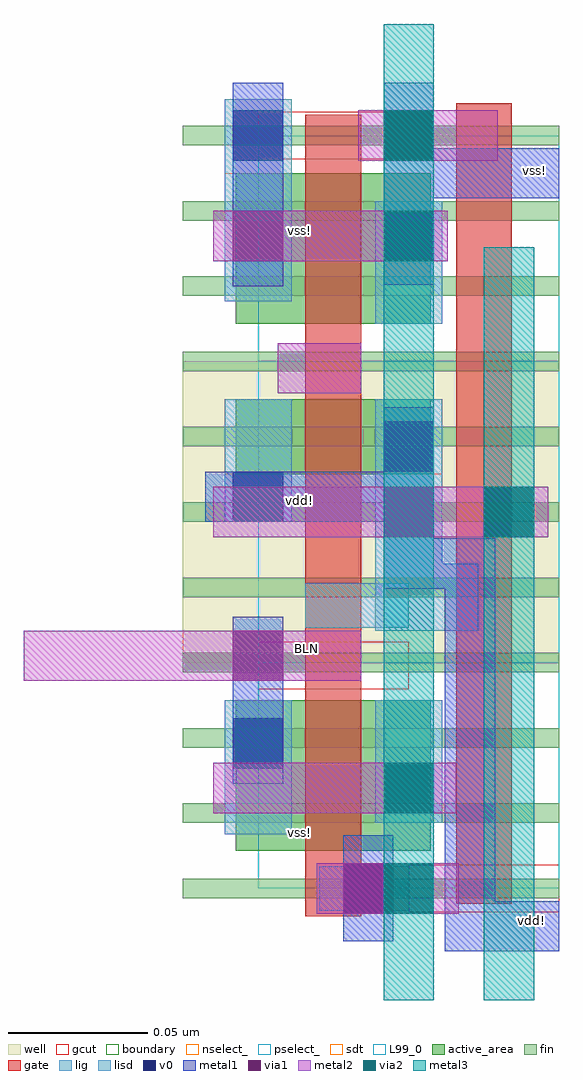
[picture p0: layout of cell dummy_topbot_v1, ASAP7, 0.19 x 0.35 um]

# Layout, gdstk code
import gdstk
lib = gdstk.Library(unit=1e-6, precision=2.5e-10)
def R(c, l, rs):  # rectangles x0, y0, x1, y1
    for r in rs: c.add(gdstk.rectangle(r[:2], r[2:], *l))
def A(c, l, x, y, w, h, nx, ny, dx, dy):  # array of equal rectangles
    R(c, l, [(x+i*dx, y+j*dy, x+i*dx+w, y+j*dy+h) for i in range(nx) for j in range(ny)])
def P(c, l, *ps):  # polygons
    for p in ps: c.add(gdstk.Polygon(p, *l))
well = (1, 0)
fin = (2, 0)
gate = (7, 0)
gcut = (10, 0)
active_area = (11, 0)
nselect_ = (12, 0)
pselect_ = (13, 0)
lig = (16, 0)
lisd = (17, 0)
v0 = (18, 0)
metal1 = (19, 0)
metal2 = (20, 0)
via1 = (21, 0)
via2 = (25, 0)
metal3 = (30, 0)
sdt = (88, 0)
L99_0 = (99, 0)
boundary = (100, 0)

dummy_topbot_v1 = lib.new_cell('dummy_topbot_v1')
R(dummy_topbot_v1, well, [(-0.027,0.0945,0.108,0.2025)])
A(dummy_topbot_v1, fin, -0.027, 0.01, 0.135, 0.007, 1, 11, 0, 0.027)
R(dummy_topbot_v1, gate, [(0.017,0.0035,0.037,0.291), (0.071,0.008,0.091,0.295)])
R(dummy_topbot_v1, gcut, [(0.054,0.005,0.108,0.022), (0,0.085,0.054,0.102), (0,0.275,0.054,0.292)])
R(dummy_topbot_v1, active_area, [(-0.008,0.027,0.062,0.081), (-0.008,0.162,0.062,0.189), (-0.008,0.216,0.062,0.27)])
R(dummy_topbot_v1, nselect_, [(0,0.0135,0.108,0.0945), (0,0.2025,0.108,0.2835)])
R(dummy_topbot_v1, pselect_, [(0,0.0945,0.108,0.2025)])
R(dummy_topbot_v1, lig, [(0.022,0.0055,0.054,0.0215), (0.017,0.107,0.054,0.123)])
R(dummy_topbot_v1, lisd, [(-0.012,0.033,0.012,0.081), (0.042,0.037,0.066,0.081), (0.042,0.106,0.066,0.189), (0.042,0.106,0.079,0.13), (-0.012,0.145,0.012,0.189), (0.042,0.216,0.066,0.26), (-0.012,0.224,0.012,0.2965)])
R(dummy_topbot_v1, v0, [(0.0305,0.0045,0.0485,0.0225), (-0.009,0.0565,0.009,0.0745), (-0.009,0.145,0.009,0.163), (0.045,0.163,0.063,0.181), (0.045,0.2385,0.063,0.2565), (-0.009,0.2745,0.009,0.2925)])
R(dummy_topbot_v1, metal1, [(0.067,-0.009,0.108,0.009), (0.067,-0.009,0.085,0.139), (0.0305,-0.0055,0.0485,0.0325), (-0.009,0.051,0.009,0.111), (0.045,0.121,0.085,0.139), (0.045,0.16,0.063,0.186), (-0.009,0.2295,0.009,0.3025), (0.045,0.23,0.063,0.3025), (0.045,0.261,0.108,0.279)])
P(dummy_topbot_v1, metal1, [(0.045,0.121),(0.045,0.145),(-0.019,0.145),(-0.019,0.163),(0.063,0.163),(0.063,0.121)])
R(dummy_topbot_v1, metal2, [(0.021,0.0045,0.072,0.0225), (-0.016,0.0405,0.071,0.0585), (-0.084,0.088,0.037,0.106), (-0.016,0.1395,0.071,0.1575), (0.0275,0.1395,0.104,0.1575), (0.007,0.191,0.037,0.209), (-0.016,0.2385,0.068,0.2565), (0.036,0.2745,0.086,0.2925)])
R(dummy_topbot_v1, via1, [(0.0305,0.0045,0.0485,0.0225), (-0.009,0.088,0.009,0.106), (0.045,0.1395,0.063,0.1575), (-0.009,0.2385,0.009,0.2565), (0.045,0.2745,0.063,0.2925)])
R(dummy_topbot_v1, via2, [(0.045,0.0045,0.063,0.0225), (0.045,0.0405,0.063,0.0585), (0.081,0.1395,0.099,0.1575), (0.045,0.2385,0.063,0.2565), (0.045,0.2745,0.063,0.2925)])
R(dummy_topbot_v1, metal3, [(0.045,-0.0265,0.063,0.3235), (0.081,-0.0265,0.099,0.2435)])
R(dummy_topbot_v1, sdt, [(-0.012,0.033,0.012,0.081), (0.042,0.037,0.066,0.081), (-0.012,0.162,0.012,0.189), (0.042,0.162,0.066,0.189), (0.042,0.216,0.066,0.26), (-0.012,0.224,0.012,0.27)])
R(dummy_topbot_v1, L99_0, [(0,0.0135,0.108,0.2835)])
R(dummy_topbot_v1, boundary, [(0,0.0135,0.108,0.2835)])
dummy_topbot_v1.add(gdstk.Label('BLN', (0.0175,0.0995), layer=20, texttype=251))
dummy_topbot_v1.add(gdstk.Label('vss!', (0.015,0.0335), layer=3, texttype=251))
dummy_topbot_v1.add(gdstk.Label('vss!', (0.015,0.2495), layer=3, texttype=251))
dummy_topbot_v1.add(gdstk.Label('vdd!', (0.015,0.1525), layer=1, texttype=251))
dummy_topbot_v1.add(gdstk.Label('vss!', (0.099,0.271), layer=19, texttype=251))
dummy_topbot_v1.add(gdstk.Label('vdd!', (0.098,0.002), layer=19, texttype=251))

lib.write_gds('dummy_topbot_v1.gds')
